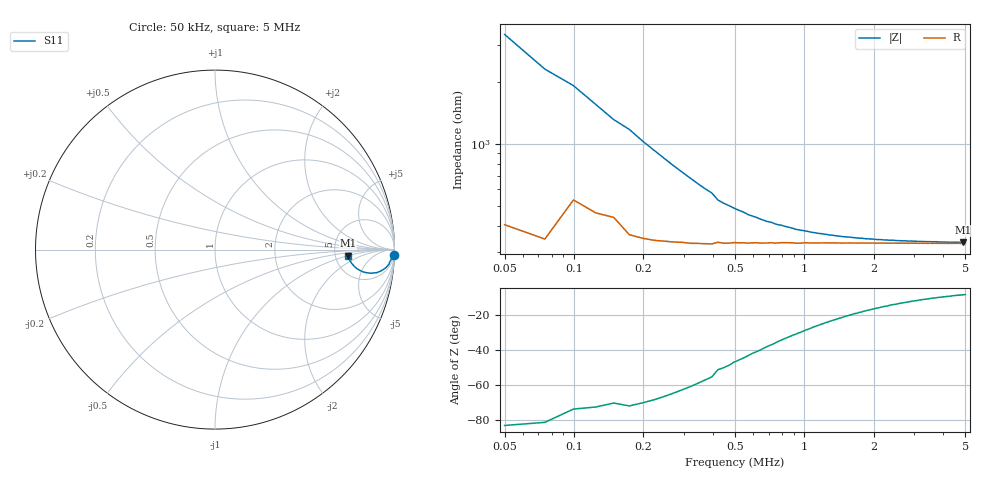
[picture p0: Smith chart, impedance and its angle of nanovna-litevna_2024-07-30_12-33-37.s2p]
! NanoVNA-App by OneOfEleven et al v1.1.209 (+OD15)
! Date: 2024-07-30 12:33:41
! Start: 50kHz Stop: 5MHz Points: 201
! S-Parameter data: F S11 S21 S12 S22
# Hz S RI R 50
!  Frequency  S11_Real  S11_Imag  S21_Real  S21_Imag  S12_Real  S12_Imag  S22_Real  S22_Imag
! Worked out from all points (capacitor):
!   201 points, 50 kHz to 5 MHz, reference 50 ohm
!   read as one part to ground: C = 872 pF near 74.75 kHz
!   lowest |Z| = 332 ohm at 4.876 MHz (marker M1)
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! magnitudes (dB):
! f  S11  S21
! 50 kHz  0.0  -101.0
! 74.75 kHz  -0.1  -86.4
! 99.5 kHz  -0.1  -90.4
! 149 kHz  -0.2  -96.3
! 173.8 kHz  -0.2  -100.4
! 223.2 kHz  -0.3  -103.1
! 396.5 kHz  -0.8  -93.6
! 421.2 kHz  -1.0  -96.3
! 569.8 kHz  -1.4  -92.7
! 693.5 kHz  -1.6  -91.4
! 767.8 kHz  -1.7  -88.9
! 891.5 kHz  -1.9  -91.2
! 1.065 MHz  -2.1  -91.3
! 1.288 MHz  -2.2  -94.2
! 1.535 MHz  -2.3  -101.3
! 1.708 MHz  -2.4  -92.7
! 2.079 MHz  -2.4  -88.9
! 2.525 MHz  -2.5  -91.5
! 3.366 MHz  -2.6  -85.6
! 4.183 MHz  -2.6  -88.9
! 4.876 MHz  -2.6  -88.3
! 5 MHz  -2.6  -106.4
